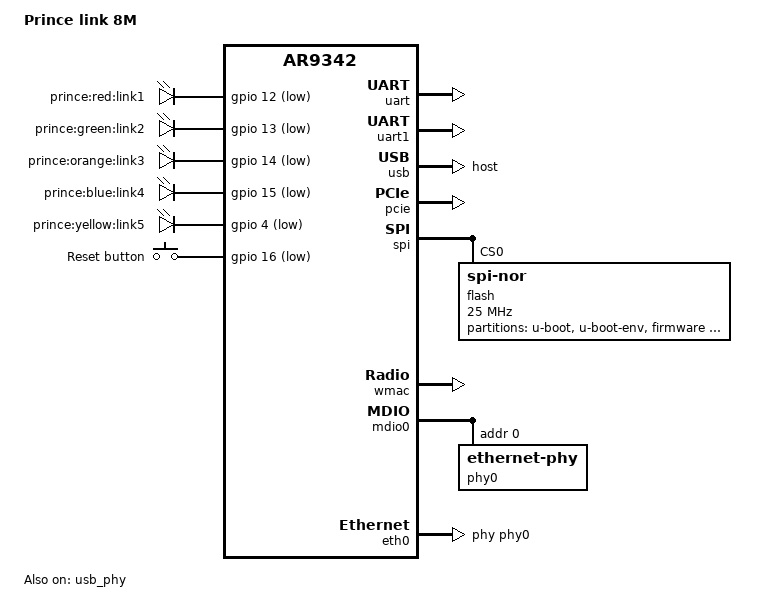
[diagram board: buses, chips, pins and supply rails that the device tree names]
// SPDX-License-Identifier: GPL-2.0-or-later OR MIT
/dts-v1/;

#include <dt-bindings/gpio/gpio.h>
#include <dt-bindings/input/input.h>

#include "ar9344.dtsi"

/ {
	compatible = "prince,link-8m", "qca,ar9342";
	model = "Prince link 8M";

	aliases {
		serial1 = &uart1;
		led-boot = &system;
		led-running = &system;
		led-upgrade = &system;
	};

	leds {
		compatible = "gpio-leds";

		link1 {
			label = "prince:red:link1";
			gpios = <&gpio 12 GPIO_ACTIVE_LOW>;
		};

		link2 {
			label = "prince:green:link2";
			gpios = <&gpio 13 GPIO_ACTIVE_LOW>;
		};

		system: link3 {
			label = "prince:orange:link3";
			gpios = <&gpio 14 GPIO_ACTIVE_LOW>;
		};

		link4 {
			label = "prince:blue:link4";
			gpios = <&gpio 15 GPIO_ACTIVE_LOW>;
		};

		link5 {
			label = "prince:yellow:link5";
			gpios = <&gpio 4 GPIO_ACTIVE_LOW>;
		};

	};
	
	keys {
		compatible = "gpio-keys";

		reset {
			label = "Reset button";
			linux,code = <KEY_RESTART>;
			gpios = <&gpio 16 GPIO_ACTIVE_LOW>;
			debounce-interval = <60>;
		};
	};
};

&ref {
	clock-frequency = <40000000>;
};

&uart {
	status = "okay";
};

&uart1 {
	pinctrl-0 = <&hsuart_tx_pins &hsuart_rx_pins>;
	status = "okay";
};

&usb {
	status = "okay";
	dr_mode = "host";
	//dr_mode = "peripheral";
};

&usb_phy {
	status = "okay";
};

&pinmux {
	hsuart_tx_pins: hsuart_tx_pins {
			//pinctrl-single,bits = <0xc 0x00004f00 0x0000ff00>;	//gpio13 = fun3 0x4f=79 mask 0x0000ff00
			pinctrl-single,bits = <0x8 0x4f000000 0xff000000>;	//gpio11 = fun2 0x4f=79 mask 0x0000ff00
		};
	hsuart_rx_pins: hsuart_rx_pins {
			//pinctrl-single,bits = <0x3c 0x000f0000 0x000f0000>;		//GPIO_IN_ENABLE9 gpio15
			pinctrl-single,bits = <0x3c 0x00110000 0x00110000>;		//GPIO_IN_ENABLE9 gpio17
		};
};

&gpio {

	status = "okay";
};

&pcie {
	status = "okay";
};

&spi {
	status = "okay";
	num-cs = <1>;

	flash@0 {
		compatible = "jedec,spi-nor";
		reg = <0>;
		spi-max-frequency = <25000000>;

		partitions {
			compatible = "fixed-partitions";
			#address-cells = <1>;
			#size-cells = <1>;

			partition@0 {
				label = "u-boot";
				reg = <0x000000 0x020000>;
				read-only;
			};

			partition@20000 {
				label = "u-boot-env";
				reg = <0x020000 0x010000>;
				read-only;
			};

			partition@30000 {
				compatible = "denx,uimage";
				label = "firmware";
				reg = <0x030000 0x7c0000>;
			};

			art: partition@7f0000 {
				label = "art";
				reg = <0x7f0000 0x010000>;
				read-only;
			};
		};
	};
};

&wmac {
	status = "okay";

	mtd-cal-data = <&art 0x1000>;
	mtd-mac-address = <&art 0x1002>;
};

&mdio0 {
	status = "okay";

	phy-mask = <4>;
	phy0: ethernet-phy@0 {
		phy-mode = "rgmii";
		reg = <0>;
	};
};

&eth0 {
	status = "okay";
	mtd-mac-address = <&art 0x0>;
	pll-data = <0x03000000 0x00000101 0x00001313>;

	phy-handle = <&phy0>;

	gmac-config {
		device = <&gmac>;
		rxd-delay = <1>;
		rxdv-delay = <1>;
	};
};
